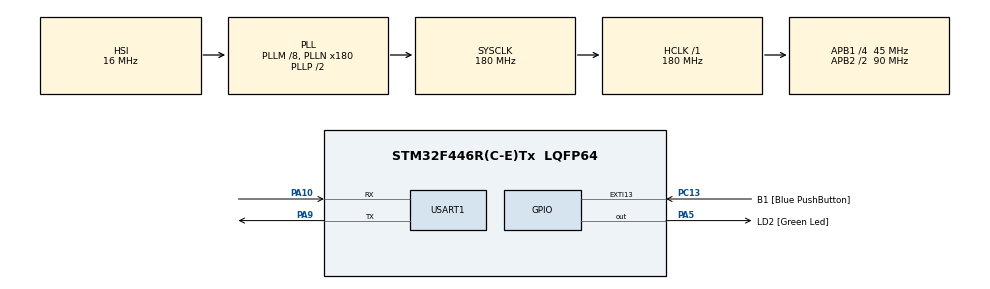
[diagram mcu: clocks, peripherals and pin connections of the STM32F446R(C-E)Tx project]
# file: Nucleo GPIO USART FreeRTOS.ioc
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FREERTOS.Mutexes01=mtxUart
FREERTOS.Tasks01=sndHello,0,128,StartSndHello,Default;sndWorld,-1,128,StartSndWorld,Default
Mcu.Family=STM32F4
Mcu.Name=STM32F446R(C-E)Tx
Mcu.Package=LQFP64
NVIC.PriorityGroup=NVIC_PRIORITYGROUP_4
PA10.Mode=Asynchronous
PA10.Signal=USART1_RX
PA13.GPIO_Label=TMS
PA13.Signal=SYS_JTMS-SWDIO
PA14.GPIO_Label=TCK
PA14.Signal=SYS_JTCK-SWCLK
PA2.GPIO_Label=USART_TX
PA2.Signal=USART2_TX
PA3.GPIO_Label=USART_RX
PA3.Signal=USART2_RX
PA5.GPIO_Label=LD2 [Green Led]
PA5.Signal=GPIO_Output
PA9.Mode=Asynchronous
PA9.Signal=USART1_TX
PB3.GPIO_Label=SWO
PB3.Signal=SYS_JTDO-SWO
PC13.GPIO_Label=B1 [Blue PushButton]
PC13.GPIO_ModeDefaultEXTI=GPIO_MODE_EVT_RISING
PC13.Signal=GPXTI13
PC14-OSC32_IN.Signal=RCC_OSC32_IN
PC15-OSC32_OUT.Signal=RCC_OSC32_OUT
PH0-OSC_IN.Signal=RCC_OSC_IN
PH1-OSC_OUT.Signal=RCC_OSC_OUT
ProjectManager.HeapSize=0x200
ProjectManager.StackSize=0x400
ProjectManager.TargetToolchain=SW4STM32
RCC.AHBFreq_Value=180000000
RCC.APB1CLKDivider=RCC_HCLK_DIV4
RCC.APB1Freq_Value=45000000
RCC.APB1TimFreq_Value=90000000
RCC.APB2CLKDivider=RCC_HCLK_DIV2
RCC.APB2Freq_Value=90000000
RCC.APB2TimFreq_Value=180000000
RCC.CortexFreq_Value=180000000
RCC.FLatency-AdvancedSettings=FLASH_LATENCY_5
RCC.HCLKFreq_Value=180000000
RCC.HSE_VALUE=8000000
RCC.HSI_VALUE=16000000
RCC.LSE_VALUE=32768
RCC.PLLM=8
RCC.PLLN=180
RCC.SYSCLKFreq_VALUE=180000000
RCC.SYSCLKSource=RCC_SYSCLKSOURCE_PLLCLK
RCC.USBFreq_Value=180000000
RCC.VCOOutputFreq_Value=360000000
VP_FREERTOS_VS_ENABLE.Mode=Enabled
board=NUCLEO-F446RE

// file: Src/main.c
/**
  ******************************************************************************
  * File Name          : main.c
  * Description        : Main program body
  ******************************************************************************
  *
  * COPYRIGHT(c) 2016 STMicroelectronics
  *
  * Redistribution and use in source and binary forms, with or without modification,
  * are permitted provided that the following conditions are met:
  *   1. Redistributions of source code must retain the above copyright notice,
  *      this list of conditions and the following disclaimer.
  *   2. Redistributions in binary form must reproduce the above copyright notice,
  *      this list of conditions and the following disclaimer in the documentation
  *      and/or other materials provided with the distribution.
  *   3. Neither the name of STMicroelectronics nor the names of its contributors
  *      may be used to endorse or promote products derived from this software
  *      without specific prior written permission.
  *
  * THIS SOFTWARE IS PROVIDED BY THE COPYRIGHT HOLDERS AND CONTRIBUTORS "AS IS"
  * AND ANY EXPRESS OR IMPLIED WARRANTIES, INCLUDING, BUT NOT LIMITED TO, THE
  * IMPLIED WARRANTIES OF MERCHANTABILITY AND FITNESS FOR A PARTICULAR PURPOSE ARE
  * DISCLAIMED. IN NO EVENT SHALL THE COPYRIGHT HOLDER OR CONTRIBUTORS BE LIABLE
  * FOR ANY DIRECT, INDIRECT, INCIDENTAL, SPECIAL, EXEMPLARY, OR CONSEQUENTIAL
  * DAMAGES (INCLUDING, BUT NOT LIMITED TO, PROCUREMENT OF SUBSTITUTE GOODS OR
  * SERVICES; LOSS OF USE, DATA, OR PROFITS; OR BUSINESS INTERRUPTION) HOWEVER
  * CAUSED AND ON ANY THEORY OF LIABILITY, WHETHER IN CONTRACT, STRICT LIABILITY,
  * OR TORT (INCLUDING NEGLIGENCE OR OTHERWISE) ARISING IN ANY WAY OUT OF THE USE
  * OF THIS SOFTWARE, EVEN IF ADVISED OF THE POSSIBILITY OF SUCH DAMAGE.
  *
  ******************************************************************************
  */
#include "stm32f4xx_hal.h"
#include "cmsis_os.h"
#include "usart.h"
#include "gpio.h"

/* USER CODE BEGIN PV */
/* Private variables ---------------------------------------------------------*/

/* USER CODE END PV */

void SystemClock_Config(void);
void Error_Handler(void);
void MX_FREERTOS_Init(void);

/* USER CODE BEGIN PFP */
/* Private function prototypes -----------------------------------------------*/

/* USER CODE END PFP */

int main(void)
{

  /* MCU Configuration----------------------------------------------------------*/

  /* Reset of all peripherals, Initializes the Flash interface and the Systick. */
  HAL_Init();

  /* Configure the system clock */
  SystemClock_Config();

  /* Initialize all configured peripherals */
  MX_GPIO_Init();
  MX_USART1_UART_Init();

  /* Call init function for freertos objects (in freertos.c) */
  MX_FREERTOS_Init();

  /* Start scheduler */
  osKernelStart();

  /* We should never get here as control is now taken by the scheduler */

  /* Infinite loop */
  while (1)
  {

  }

}

/** System Clock Configuration
*/
void SystemClock_Config(void)
{

  RCC_OscInitTypeDef RCC_OscInitStruct;
  RCC_ClkInitTypeDef RCC_ClkInitStruct;

  __HAL_RCC_PWR_CLK_ENABLE();

  __HAL_PWR_VOLTAGESCALING_CONFIG(PWR_REGULATOR_VOLTAGE_SCALE1);

  RCC_OscInitStruct.OscillatorType = RCC_OSCILLATORTYPE_HSI;
  RCC_OscInitStruct.HSIState = RCC_HSI_ON;
  RCC_OscInitStruct.HSICalibrationValue = 16;
  RCC_OscInitStruct.PLL.PLLState = RCC_PLL_ON;
  RCC_OscInitStruct.PLL.PLLSource = RCC_PLLSOURCE_HSI;
  RCC_OscInitStruct.PLL.PLLM = 8;
  RCC_OscInitStruct.PLL.PLLN = 180;
  RCC_OscInitStruct.PLL.PLLP = RCC_PLLP_DIV2;
  RCC_OscInitStruct.PLL.PLLQ = 2;
  RCC_OscInitStruct.PLL.PLLR = 2;
  if (HAL_RCC_OscConfig(&RCC_OscInitStruct) != HAL_OK)
  {
    Error_Handler();
  }

  if (HAL_PWREx_EnableOverDrive() != HAL_OK)
  {
    Error_Handler();
  }

  RCC_ClkInitStruct.ClockType = RCC_CLOCKTYPE_HCLK|RCC_CLOCKTYPE_SYSCLK
                              |RCC_CLOCKTYPE_PCLK1|RCC_CLOCKTYPE_PCLK2;
  RCC_ClkInitStruct.SYSCLKSource = RCC_SYSCLKSOURCE_PLLCLK;
  RCC_ClkInitStruct.AHBCLKDivider = RCC_SYSCLK_DIV1;
  RCC_ClkInitStruct.APB1CLKDivider = RCC_HCLK_DIV4;
  RCC_ClkInitStruct.APB2CLKDivider = RCC_HCLK_DIV2;
  if (HAL_RCC_ClockConfig(&RCC_ClkInitStruct, FLASH_LATENCY_5) != HAL_OK)
  {
    Error_Handler();
  }

  HAL_SYSTICK_Config(HAL_RCC_GetHCLKFreq()/1000);

  HAL_SYSTICK_CLKSourceConfig(SYSTICK_CLKSOURCE_HCLK);

  /* SysTick_IRQn interrupt configuration */
  HAL_NVIC_SetPriority(SysTick_IRQn, 15, 0);
}

void Error_Handler(void)
{
  while(1)
  {
  }
}

/************************ (C) COPYRIGHT STMicroelectronics *****END OF FILE****/

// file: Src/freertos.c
#include "FreeRTOS.h"
#include "task.h"
#include "cmsis_os.h"
#include "stm32f4xx_hal.h"
#include "usart.h"
#include "gpio.h"

osThreadId sendHelloHandle;
osThreadId sendWorldHandle;
osMutexId mtxUartHandle;

void SendHelloTask(void const * argument);
void SendWorldTask(void const * argument);

void MX_FREERTOS_Init(void); /* (MISRA C 2004 rule 8.1) */

/* Hook prototypes */

/* Init FreeRTOS */

void MX_FREERTOS_Init(void) {

	/* Create the mutex(es) */
	/* definition and creation of mtxUart */
	osMutexDef(mtxUart);
	mtxUartHandle = osMutexCreate(osMutex(mtxUart));

	/* Create the thread(s) */
	/* definition and creation of sendHello */
	osThreadDef(sendHello, SendHelloTask, osPriorityHigh, 0, 128);
	sendHelloHandle = osThreadCreate(osThread(sendHello), NULL);

	/* definition and creation of sendWorld */
	osThreadDef(sendWorld, SendWorldTask, osPriorityLow, 0, 128);
	sendWorldHandle = osThreadCreate(osThread(sendWorld), NULL);

}

/* SendHelloTask function */
void SendHelloTask(void const * argument) {

	/* USER CODE BEGIN SendHelloTask */

	osStatus lastOsStatus;
	char * s = "Hello \r\n";

	/* Infinite loop */
	for (;;) {

		lastOsStatus = osMutexWait(mtxUartHandle, osWaitForever);

		if (lastOsStatus == osOK) {
			// we took Mutex
			HAL_GPIO_TogglePin(GPIOA, GPIO_PIN_5);
			HAL_UART_Transmit(&huart1, s, strlen(s), 1000);
			osDelay(1000);
			HAL_GPIO_TogglePin(GPIOA, GPIO_PIN_5);
			osMutexRelease(mtxUartHandle);
		}

		osDelay(1);
	}
	/* USER CODE END SendHelloTask */
}

/* SendWorldTask function */
void SendWorldTask(void const * argument) {

	/* USER CODE BEGIN SendWorldTask */

	osStatus lastOsStatus;
	char * s = "World \r\n";

	/* Infinite loop */
	for (;;) {

		lastOsStatus = osMutexWait(mtxUartHandle, osWaitForever);

		if (lastOsStatus == osOK) {
			// we took Mutex
			HAL_GPIO_TogglePin(GPIOA, GPIO_PIN_5);
			HAL_UART_Transmit(&huart1, s, strlen(s), 1000);
			osDelay(731);
			HAL_GPIO_TogglePin(GPIOA, GPIO_PIN_5);
			osMutexRelease(mtxUartHandle);
		}

		osDelay(1);
	}
	/* USER CODE END SendWorldTask */
}

/************************ (C) COPYRIGHT STMicroelectronics *****END OF FILE****/
